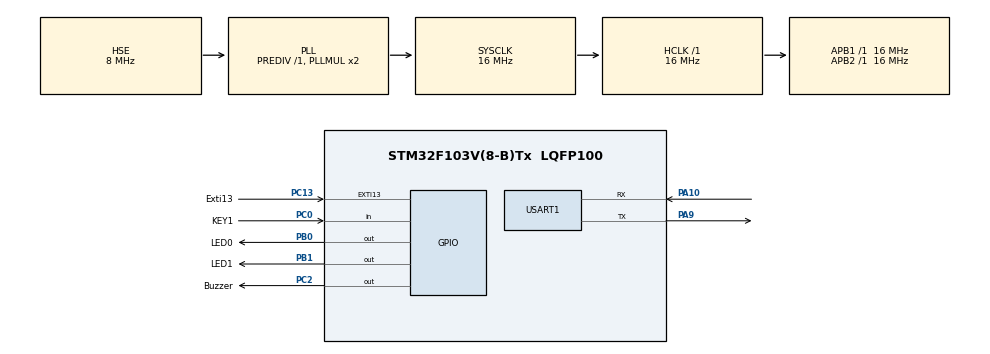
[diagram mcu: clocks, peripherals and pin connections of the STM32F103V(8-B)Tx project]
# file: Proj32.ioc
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Mcu.Family=STM32F1
Mcu.Name=STM32F103V(8-B)Tx
Mcu.Package=LQFP100
NVIC.EXTI15_10_IRQn=true\:0\:0\:false\:false\:true\:true\:true
NVIC.PriorityGroup=NVIC_PRIORITYGROUP_4
NVIC.USART1_IRQn=true\:0\:0\:false\:false\:true\:true\:true
OSC_IN.Mode=HSE-External-Oscillator
OSC_IN.Signal=RCC_OSC_IN
OSC_OUT.Mode=HSE-External-Oscillator
OSC_OUT.Signal=RCC_OSC_OUT
PA10.Mode=Asynchronous
PA10.Signal=USART1_RX
PA13.Mode=Serial_Wire
PA13.Signal=SYS_JTMS-SWDIO
PA14.Mode=Serial_Wire
PA14.Signal=SYS_JTCK-SWCLK
PA9.Mode=Asynchronous
PA9.Signal=USART1_TX
PB0.GPIO_Label=LED0
PB0.GPIO_ModeDefaultOutputPP=GPIO_MODE_OUTPUT_PP
PB0.GPIO_PuPd=GPIO_PULLUP
PB0.GPIO_Speed=GPIO_SPEED_FREQ_HIGH
PB0.PinState=GPIO_PIN_SET
PB0.Signal=GPIO_Output
PB1.GPIO_Label=LED1
PB1.GPIO_PuPd=GPIO_PULLDOWN
PB1.GPIO_Speed=GPIO_SPEED_FREQ_HIGH
PB1.PinState=GPIO_PIN_SET
PB1.Signal=GPIO_Output
PC0.GPIO_Label=KEY1
PC0.GPIO_PuPd=GPIO_PULLDOWN
PC0.Signal=GPIO_Input
PC13-TAMPER-RTC.GPIO_Label=Exti13
PC13-TAMPER-RTC.GPIO_ModeDefaultEXTI=GPIO_MODE_IT_RISING
PC13-TAMPER-RTC.GPIO_PuPd=GPIO_PULLDOWN
PC13-TAMPER-RTC.Signal=GPXTI13
PC2.GPIO_Label=Buzzer
PC2.GPIO_PuPd=GPIO_PULLDOWN
PC2.GPIO_Speed=GPIO_SPEED_FREQ_HIGH
PC2.PinState=GPIO_PIN_SET
PC2.Signal=GPIO_Output
ProjectManager.HeapSize=0x200
ProjectManager.StackSize=0x400
ProjectManager.TargetToolchain=STM32CubeIDE
RCC.AHBFreq_Value=16000000
RCC.APB1Freq_Value=16000000
RCC.APB1TimFreq_Value=16000000
RCC.APB2Freq_Value=16000000
RCC.APB2TimFreq_Value=16000000
RCC.HCLKFreq_Value=16000000
RCC.PLLSourceVirtual=RCC_PLLSOURCE_HSE
RCC.SYSCLKFreq_VALUE=16000000
RCC.SYSCLKSource=RCC_SYSCLKSOURCE_PLLCLK
RCC.USBFreq_Value=16000000
USART1.VirtualMode=VM_ASYNC
board=custom

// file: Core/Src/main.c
/* USER CODE BEGIN Header */
/**
  ******************************************************************************
  * @file           : main.c
  * @brief          : Main program body
  ******************************************************************************
  * @attention
  *
  * Copyright (c) 2021 STMicroelectronics.
  * All rights reserved.
  *
  * This software is licensed under terms that can be found in the LICENSE file
  * in the root directory of this software component.
  * If no LICENSE file comes with this software, it is provided AS-IS.
  *
  ******************************************************************************
  */
/* USER CODE END Header */
#include "main.h"

/* USER CODE BEGIN Includes */
#include "stdio.h"
/* USER CODE END Includes */

/* USER CODE BEGIN PTD */
uint8_t rx_buff[100];  //接收缓存
uint8_t rx_done = 0; //接收完成标志
uint8_t rx_cnt = 0;//接收数据长度
/* USER CODE END PTD */

UART_HandleTypeDef huart1;

void SystemClock_Config(void);
static void MX_GPIO_Init(void);
static void MX_USART1_UART_Init(void);

int main(void)
{

  /* MCU Configuration--------------------------------------------------------*/

  /* Reset of all peripherals, Initializes the Flash interface and the Systick. */
  HAL_Init();

  /* Configure the system clock */
  SystemClock_Config();

  /* Initialize all configured peripherals */
  MX_GPIO_Init();
  MX_USART1_UART_Init();

  /* Infinite loop */
  /* USER CODE BEGIN WHILE */
  while (1)
  {
      if(rx_done == 1)//判读是否接收完成
      {
          rx_done = 0;//清除接收标志
          //数据处理，打印接收长度、接收的数据
          printf("length of rx data: %d!\r\n",rx_cnt);
          for(int i = 0;i<rx_cnt;i++) printf("%c",rx_buff[i]);
          printf("\r\n");

          rx_cnt =0;//清除接收长度
      }
    /* USER CODE END WHILE */

  }
}

void SystemClock_Config(void)
{
  RCC_OscInitTypeDef RCC_OscInitStruct = {0};
  RCC_ClkInitTypeDef RCC_ClkInitStruct = {0};

  /** Initializes the RCC Oscillators according to the specified parameters
  * in the RCC_OscInitTypeDef structure.
  */
  RCC_OscInitStruct.OscillatorType = RCC_OSCILLATORTYPE_HSE;
  RCC_OscInitStruct.HSEState = RCC_HSE_ON;
  RCC_OscInitStruct.HSEPredivValue = RCC_HSE_PREDIV_DIV1;
  RCC_OscInitStruct.HSIState = RCC_HSI_ON;
  RCC_OscInitStruct.PLL.PLLState = RCC_PLL_ON;
  RCC_OscInitStruct.PLL.PLLSource = RCC_PLLSOURCE_HSE;
  RCC_OscInitStruct.PLL.PLLMUL = RCC_PLL_MUL2;
  if (HAL_RCC_OscConfig(&RCC_OscInitStruct) != HAL_OK)
  {
    Error_Handler();
  }
  /** Initializes the CPU, AHB and APB buses clocks
  */
  RCC_ClkInitStruct.ClockType = RCC_CLOCKTYPE_HCLK|RCC_CLOCKTYPE_SYSCLK
                              |RCC_CLOCKTYPE_PCLK1|RCC_CLOCKTYPE_PCLK2;
  RCC_ClkInitStruct.SYSCLKSource = RCC_SYSCLKSOURCE_PLLCLK;
  RCC_ClkInitStruct.AHBCLKDivider = RCC_SYSCLK_DIV1;
  RCC_ClkInitStruct.APB1CLKDivider = RCC_HCLK_DIV1;
  RCC_ClkInitStruct.APB2CLKDivider = RCC_HCLK_DIV1;

  if (HAL_RCC_ClockConfig(&RCC_ClkInitStruct, FLASH_LATENCY_0) != HAL_OK)
  {
    Error_Handler();
  }
}

static void MX_USART1_UART_Init(void)
{

  huart1.Instance = USART1;
  huart1.Init.BaudRate = 115200;
  huart1.Init.WordLength = UART_WORDLENGTH_8B;
  huart1.Init.StopBits = UART_STOPBITS_1;
  huart1.Init.Parity = UART_PARITY_NONE;
  huart1.Init.Mode = UART_MODE_TX_RX;
  huart1.Init.HwFlowCtl = UART_HWCONTROL_NONE;
  huart1.Init.OverSampling = UART_OVERSAMPLING_16;
  if (HAL_UART_Init(&huart1) != HAL_OK)
  {
    Error_Handler();
  }
  /* USER CODE BEGIN USART1_Init 2 */
  //开启接收中断，空闲中断
  __HAL_UART_ENABLE_IT(&huart1,UART_IT_IDLE|UART_IT_RXNE);
  /* USER CODE END USART1_Init 2 */

}

static void MX_GPIO_Init(void)
{
  GPIO_InitTypeDef GPIO_InitStruct = {0};

  /* GPIO Ports Clock Enable */
  __HAL_RCC_GPIOC_CLK_ENABLE();
  __HAL_RCC_GPIOB_CLK_ENABLE();
  __HAL_RCC_GPIOA_CLK_ENABLE();

  /*Configure GPIO pin Output Level */
  HAL_GPIO_WritePin(Buzzer_GPIO_Port, Buzzer_Pin, GPIO_PIN_SET);

  /*Configure GPIO pin Output Level */
  HAL_GPIO_WritePin(GPIOB, LED0_Pin|LED1_Pin, GPIO_PIN_SET);

  /*Configure GPIO pin : Exti13_Pin */
  GPIO_InitStruct.Pin = Exti13_Pin;
  GPIO_InitStruct.Mode = GPIO_MODE_IT_RISING;
  GPIO_InitStruct.Pull = GPIO_PULLDOWN;
  HAL_GPIO_Init(Exti13_GPIO_Port, &GPIO_InitStruct);

  /*Configure GPIO pin : KEY1_Pin */
  GPIO_InitStruct.Pin = KEY1_Pin;
  GPIO_InitStruct.Mode = GPIO_MODE_INPUT;
  GPIO_InitStruct.Pull = GPIO_PULLDOWN;
  HAL_GPIO_Init(KEY1_GPIO_Port, &GPIO_InitStruct);

  /*Configure GPIO pin : Buzzer_Pin */
  GPIO_InitStruct.Pin = Buzzer_Pin;
  GPIO_InitStruct.Mode = GPIO_MODE_OUTPUT_PP;
  GPIO_InitStruct.Pull = GPIO_PULLDOWN;
  GPIO_InitStruct.Speed = GPIO_SPEED_FREQ_HIGH;
  HAL_GPIO_Init(Buzzer_GPIO_Port, &GPIO_InitStruct);

  /*Configure GPIO pin : LED0_Pin */
  GPIO_InitStruct.Pin = LED0_Pin;
  GPIO_InitStruct.Mode = GPIO_MODE_OUTPUT_PP;
  GPIO_InitStruct.Pull = GPIO_PULLUP;
  GPIO_InitStruct.Speed = GPIO_SPEED_FREQ_HIGH;
  HAL_GPIO_Init(LED0_GPIO_Port, &GPIO_InitStruct);

  /*Configure GPIO pin : LED1_Pin */
  GPIO_InitStruct.Pin = LED1_Pin;
  GPIO_InitStruct.Mode = GPIO_MODE_OUTPUT_PP;
  GPIO_InitStruct.Pull = GPIO_PULLDOWN;
  GPIO_InitStruct.Speed = GPIO_SPEED_FREQ_HIGH;
  HAL_GPIO_Init(LED1_GPIO_Port, &GPIO_InitStruct);

  /* EXTI interrupt init*/
  HAL_NVIC_SetPriority(EXTI15_10_IRQn, 0, 0);
  HAL_NVIC_EnableIRQ(EXTI15_10_IRQn);

}

/* USER CODE BEGIN 4 */
//重写GPIO中断回调函数
void HAL_GPIO_EXTI_Callback(uint16_t GPIO_Pin)
{
    //翻转LED0
    HAL_GPIO_TogglePin(LED0_GPIO_Port,LED0_Pin);
    //打印中断处理信息
    printf("ExTi13 interrput!\r\n");
}

#ifdef __GNUC__
#define PUTCHAR_PROTOTYPE int __io_putchar(int ch)
#else
#define PUTCHAR_PROTOTYPE int fputc(int ch. FILE *f)
#endif /* __GNUC__ */

//重定向printf函数
PUTCHAR_PROTOTYPE
{
    HAL_UART_Transmit(&huart1,(uint8_t *)&ch,1,0xFFFF);//输出指向串口USART1
    return ch;
}
/* USER CODE END 4 */

void Error_Handler(void)
{
  __disable_irq();
  while (1)
  {
  }
}
